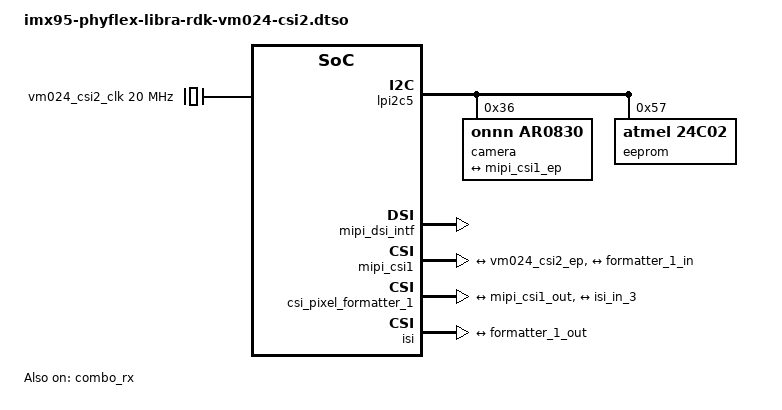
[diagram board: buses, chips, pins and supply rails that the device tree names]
// SPDX-License-Identifier: (GPL-2.0+ OR MIT)
/*
 * Copyright (C) 2026 PHYTEC Messtechnik GmbH
 * Author: Stefan Riedmüller <s.riedmueller@phytec.de>
 */

/dts-v1/;
/plugin/;

#include <dt-bindings/media/video-interfaces.h>

&{/} {
	vm024_csi2_clk: vm024-csi2-ext-clk {
		#clock-cells = <0>;
		compatible = "fixed-clock";
		clock-frequency = <20000000>;
	};
};

&lpi2c5 {
	#address-cells = <1>;
	#size-cells = <0>;
	status = "okay";

	camera@36 {
		#address-cells = <0x1>;
		#size-cells = <0x0>;

		compatible = "onnn,ar0830";
		reg = <0x36>;
		clocks = <&vm024_csi2_clk>;
		clock-names = "ext";
		orientation = <2>;
		rotation = <0>;

		port@0 {
			reg = <0>;

			vm024_csi2_ep: endpoint {
				remote-endpoint = <&mipi_csi1_ep>;
				bus-type = <MEDIA_BUS_TYPE_CSI2_DPHY>;
				link-frequencies = /bits/ 64 <288000000 375000000 500000000 562500000 600000000 750000000>;
				data-lanes = <1 2 3 4>;
				clock-lanes = <0>;
			};
		};
	};

	eeprom@57 {
		compatible = "atmel,24c02";
		reg = <0x57>;
		pagesize = <16>;
	};
};

&display_stream_csr {
	status = "disabled";
};

&display_master_csr {
	status = "disabled";
};

&mipi_tx_phy_csr {
	status = "disabled";
};

&mipi_dsi_intf {
	status = "okay";
};

&combo_rx {
	status = "okay";
};

&mipi_csi1 {
	status = "okay";

	ports {
		#address-cells = <1>;
		#size-cells = <0>;

		port@0 {
			reg = <0>;
			mipi_csi1_ep: endpoint {
				remote-endpoint = <&vm024_csi2_ep>;
				data-lanes = <1 2 3 4>;
				clock-lanes = <0>;
			};
		};

		port@1 {
			reg = <1>;
				mipi_csi1_out: endpoint {
				remote-endpoint = <&formatter_1_in>;
			};
		};
	};
};

&csi_pixel_formatter_1 {
	status = "okay";

	ports {
		#address-cells = <1>;
		#size-cells = <0>;

		port@0 {
			reg = <0>;

			formatter_1_in: endpoint {
				remote-endpoint = <&mipi_csi1_out>;
			};
		};

		port@1 {
			reg = <1>;

			formatter_1_out: endpoint {
				remote-endpoint = <&isi_in_3>;
			};
		};
	};
};

&isi {
	status = "okay";
	dma-coherent;

	ports {
		#address-cells = <1>;
		#size-cells = <0>;

		port@3 {
			reg = <3>;

			isi_in_3: endpoint {
				remote-endpoint = <&formatter_1_out>;
			};
		};
	};
};
